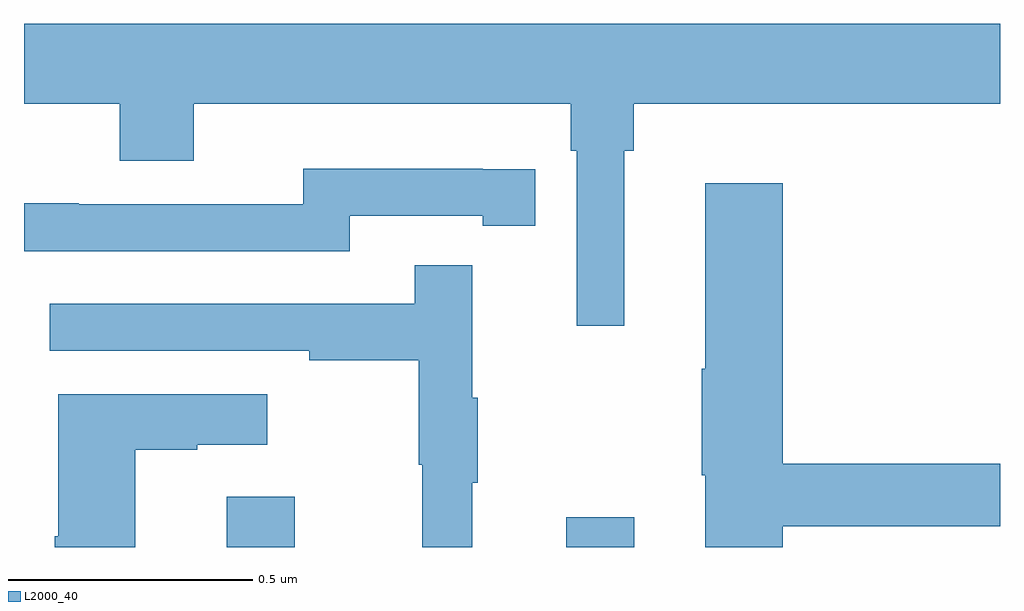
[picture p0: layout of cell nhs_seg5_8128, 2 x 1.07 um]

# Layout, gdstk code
import gdstk
lib = gdstk.Library(unit=1e-6, precision=1e-09)
def R(c, l, rs):  # rectangles x0, y0, x1, y1
    for r in rs: c.add(gdstk.rectangle(r[:2], r[2:], *l))
def P(c, l, *ps):  # polygons
    for p in ps: c.add(gdstk.Polygon(p, *l))
L2000_40 = (2000, 40)

nhs_seg5_8128 = lib.new_cell('nhs_seg5_8128')
R(nhs_seg5_8128, L2000_40, [(217.415,907.799,217.555,907.903), (218.111,907.799,218.251,907.861)])
P(nhs_seg5_8128, L2000_40, [(218.23,908.612),(218.249,908.612),(218.249,908.708),(219,908.708),(219,908.872),(217,908.872),(217,908.708),(217.196,908.708),(217.196,908.591),(217.348,908.591),(217.348,908.708),(218.12,908.708),(218.12,908.612),(218.133,908.612),(218.133,908.253),(218.23,908.253)],
  [(217.668,908.478),(217.94,908.478),(217.94,908.458),(218.048,908.458),(218.048,908.574),(217.94,908.574),(217.94,908.575),(217.572,908.575),(217.572,908.502),(217.112,908.502),(217.112,908.504),(217,908.504),(217,908.406),(217.668,908.406)],
  [(218.555,907.842),(219,907.842),(219,907.97),(218.555,907.97),(218.555,908.545),(218.396,908.545),(218.396,908.165),(218.389,908.165),(218.389,907.947),(218.396,907.947),(218.396,907.799),(218.555,907.799)],
  [(217.919,907.931),(217.93,907.931),(217.93,908.105),(217.919,908.105),(217.919,908.377),(217.801,908.377),(217.801,908.298),(217.053,908.298),(217.053,908.202),(217.585,908.202),(217.585,908.182),(217.809,908.182),(217.809,907.968),(217.816,907.968),(217.816,907.799),(217.919,907.799)],
  [(217.228,907.999),(217.355,907.999),(217.355,908.009),(217.498,908.009),(217.498,908.113),(217.07,908.113),(217.07,907.822),(217.063,907.822),(217.063,907.799),(217.228,907.799)])

lib.write_gds('nhs_seg5_8128.gds')
